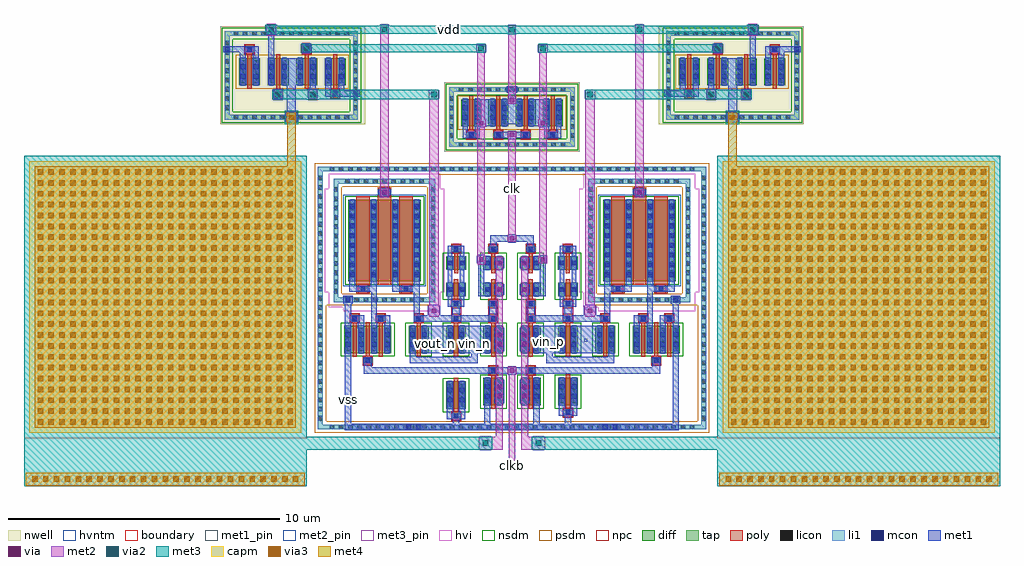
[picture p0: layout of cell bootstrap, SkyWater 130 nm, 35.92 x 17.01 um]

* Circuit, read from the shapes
.subckt bootstrap clk clkb vdd vin_n vin_p vout_n vout_p vss
XM1 vss vss vss vss sky130_fd_pr__nfet_01v8 w=1 l=0.15 m=4
XM2 sky130_fd_pr__nfet_g5v0d10v5_WBA3NL_6/D sky130_fd_pr__nfet_g5v0d10v5_WBA3NL_6/D sky130_fd_pr__nfet_g5v0d10v5_WBA3NL_6/D vss sky130_fd_pr__nfet_g5v0d10v5 w=3 l=0.5
XM3 sky130_fd_pr__nfet_g5v0d10v5_WBA3NL_6/D clkb vss vss sky130_fd_pr__nfet_01v8 w=1 l=0.15
XM4 sky130_fd_pr__nfet_01v8_FAHZ66_11/D vdd sky130_fd_pr__nfet_g5v0d10v5_WBA3NL_6/D vss sky130_fd_pr__nfet_g5v0d10v5 w=3 l=0.5
XM5 sky130_fd_pr__nfet_g5v0d10v5_WBA3NL_6/D sky130_fd_pr__nfet_g5v0d10v5_WBA3NL_6/D sky130_fd_pr__nfet_g5v0d10v5_WBA3NL_6/D vss sky130_fd_pr__nfet_01v8 w=1 l=0.15
XM6 sky130_fd_pr__nfet_01v8_FAHZ66_11/D sky130_fd_pr__nfet_01v8_FAHZ66_11/D sky130_fd_pr__nfet_01v8_FAHZ66_11/D vss sky130_fd_pr__nfet_g5v0d10v5 w=3 l=0.5
XM7 vout_n sky130_fd_pr__nfet_01v8_FAHZ66_11/D vin_n vss sky130_fd_pr__nfet_01v8 w=1 l=0.15 m=2
XM8 sky130_fd_pr__nfet_01v8_FAHZ66_11/D sky130_fd_pr__nfet_01v8_FAHZ66_11/D sky130_fd_pr__nfet_01v8_FAHZ66_11/D vss sky130_fd_pr__nfet_01v8 w=0.5 l=0.15 m=2
XM9 sky130_fd_pr__cap_mim_m3_1_6ZDEYE_0/C2 clkb vss vss sky130_fd_pr__nfet_01v8 w=1 l=0.15
XM10 sky130_fd_pr__cap_mim_m3_1_6ZDEYE_0/C2 sky130_fd_pr__nfet_01v8_FAHZ66_11/D vin_n vss sky130_fd_pr__nfet_01v8 w=1 l=0.15
XM11 sky130_fd_pr__cap_mim_m3_1_6ZDEYE_0/C2 sky130_fd_pr__nfet_01v8_FAHZ66_11/D sky130_fd_pr__nfet_01v8_FAHZ66_13/D vss sky130_fd_pr__nfet_01v8 w=0.5 l=0.15
XM12 sky130_fd_pr__cap_mim_m3_1_6ZDEYE_0/C2 clk sky130_fd_pr__nfet_01v8_FAHZ66_13/D vss sky130_fd_pr__nfet_01v8 w=0.5 l=0.15
XM13 vss clkb sky130_fd_pr__cap_mim_m3_1_6ZDEYE_27/C2 vss sky130_fd_pr__nfet_01v8 w=1 l=0.15
XM14 vin_p sky130_fd_pr__nfet_01v8_FAHZ66_17/D sky130_fd_pr__cap_mim_m3_1_6ZDEYE_27/C2 vss sky130_fd_pr__nfet_01v8 w=1 l=0.15
XM15 sky130_fd_pr__nfet_01v8_FAHZ66_12/D sky130_fd_pr__nfet_01v8_FAHZ66_17/D sky130_fd_pr__cap_mim_m3_1_6ZDEYE_27/C2 vss sky130_fd_pr__nfet_01v8 w=0.5 l=0.15
XM16 sky130_fd_pr__nfet_01v8_FAHZ66_12/D clk sky130_fd_pr__cap_mim_m3_1_6ZDEYE_27/C2 vss sky130_fd_pr__nfet_01v8 w=0.5 l=0.15
XM17 sky130_fd_pr__nfet_01v8_FAHZ66_17/D sky130_fd_pr__nfet_01v8_FAHZ66_17/D sky130_fd_pr__nfet_01v8_FAHZ66_17/D vss sky130_fd_pr__nfet_01v8 w=0.5 l=0.15 m=2
XM18 vout_p sky130_fd_pr__nfet_01v8_FAHZ66_17/D vin_p vss sky130_fd_pr__nfet_01v8 w=1 l=0.15 m=2
XM19 sky130_fd_pr__nfet_01v8_FAHZ66_17/D sky130_fd_pr__nfet_01v8_FAHZ66_17/D sky130_fd_pr__nfet_01v8_FAHZ66_17/D vss sky130_fd_pr__nfet_g5v0d10v5 w=3 l=0.5
XM20 sky130_fd_pr__nfet_g5v0d10v5_WBA3NL_31/D vdd sky130_fd_pr__nfet_01v8_FAHZ66_17/D vss sky130_fd_pr__nfet_g5v0d10v5 w=3 l=0.5
XM21 sky130_fd_pr__nfet_g5v0d10v5_WBA3NL_31/D sky130_fd_pr__nfet_g5v0d10v5_WBA3NL_31/D sky130_fd_pr__nfet_g5v0d10v5_WBA3NL_31/D vss sky130_fd_pr__nfet_01v8 w=1 l=0.15
XM22 sky130_fd_pr__nfet_g5v0d10v5_WBA3NL_31/D sky130_fd_pr__nfet_g5v0d10v5_WBA3NL_31/D sky130_fd_pr__nfet_g5v0d10v5_WBA3NL_31/D vss sky130_fd_pr__nfet_g5v0d10v5 w=3 l=0.5
XM23 vss clkb sky130_fd_pr__nfet_g5v0d10v5_WBA3NL_31/D vss sky130_fd_pr__nfet_01v8 w=1 l=0.15
XM24 sky130_fd_pr__cap_mim_m3_1_6ZDEYE_0/C1 sky130_fd_pr__cap_mim_m3_1_6ZDEYE_0/C1 sky130_fd_pr__cap_mim_m3_1_6ZDEYE_0/C1 sky130_fd_pr__cap_mim_m3_1_6ZDEYE_0/C1 sky130_fd_pr__pfet_01v8 w=1 l=0.15 m=2
XM25 sky130_fd_pr__cap_mim_m3_1_6ZDEYE_0/C1 sky130_fd_pr__nfet_01v8_FAHZ66_11/D vdd sky130_fd_pr__cap_mim_m3_1_6ZDEYE_0/C1 sky130_fd_pr__pfet_01v8 w=1 l=0.15
XM26 sky130_fd_pr__nfet_01v8_FAHZ66_11/D sky130_fd_pr__nfet_01v8_FAHZ66_13/D sky130_fd_pr__cap_mim_m3_1_6ZDEYE_0/C1 sky130_fd_pr__cap_mim_m3_1_6ZDEYE_0/C1 sky130_fd_pr__pfet_01v8 w=1 l=0.15
XM27 sky130_fd_pr__nfet_01v8_FAHZ66_13/D sky130_fd_pr__nfet_01v8_FAHZ66_13/D sky130_fd_pr__nfet_01v8_FAHZ66_13/D vdd sky130_fd_pr__pfet_01v8 w=1 l=0.15
XM28 vdd clk sky130_fd_pr__nfet_01v8_FAHZ66_13/D vdd sky130_fd_pr__pfet_01v8 w=1 l=0.15
XM29 sky130_fd_pr__nfet_01v8_FAHZ66_12/D clk vdd vdd sky130_fd_pr__pfet_01v8 w=1 l=0.15
XM30 sky130_fd_pr__nfet_01v8_FAHZ66_12/D sky130_fd_pr__nfet_01v8_FAHZ66_12/D sky130_fd_pr__nfet_01v8_FAHZ66_12/D vdd sky130_fd_pr__pfet_01v8 w=1 l=0.15
XM31 sky130_fd_pr__cap_mim_m3_1_6ZDEYE_27/C1 sky130_fd_pr__cap_mim_m3_1_6ZDEYE_27/C1 sky130_fd_pr__cap_mim_m3_1_6ZDEYE_27/C1 sky130_fd_pr__cap_mim_m3_1_6ZDEYE_27/C1 sky130_fd_pr__pfet_01v8 w=1 l=0.15 m=2
XM32 sky130_fd_pr__cap_mim_m3_1_6ZDEYE_27/C1 sky130_fd_pr__nfet_01v8_FAHZ66_12/D sky130_fd_pr__nfet_01v8_FAHZ66_17/D sky130_fd_pr__cap_mim_m3_1_6ZDEYE_27/C1 sky130_fd_pr__pfet_01v8 w=1 l=0.15
XM33 vdd sky130_fd_pr__nfet_01v8_FAHZ66_17/D sky130_fd_pr__cap_mim_m3_1_6ZDEYE_27/C1 sky130_fd_pr__cap_mim_m3_1_6ZDEYE_27/C1 sky130_fd_pr__pfet_01v8 w=1 l=0.15
XC34 sky130_fd_pr__cap_mim_m3_1_6ZDEYE_0/C1 sky130_fd_pr__cap_mim_m3_1_6ZDEYE_0/C2 sky130_fd_pr__cap_mim_m3_1 w=10 l=10
XC35 sky130_fd_pr__cap_mim_m3_1_6ZDEYE_27/C1 sky130_fd_pr__cap_mim_m3_1_6ZDEYE_27/C2 sky130_fd_pr__cap_mim_m3_1 w=10 l=10
.ends

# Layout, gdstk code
from math import pi, radians
import gdstk
lib = gdstk.Library(unit=1e-6, precision=1e-09)
def R(c, l, rs):  # rectangles x0, y0, x1, y1
    for r in rs: c.add(gdstk.rectangle(r[:2], r[2:], *l))
def A(c, l, x, y, w, h, nx, ny, dx, dy):  # array of equal rectangles
    R(c, l, [(x+i*dx, y+j*dy, x+i*dx+w, y+j*dy+h) for i in range(nx) for j in range(ny)])
nwell = (64, 20)
diff = (65, 20)
tap = (65, 44)
poly = (66, 20)
licon = (66, 44)
li1 = (67, 20)
mcon = (67, 44)
met1_pin = (68, 16)
met1 = (68, 20)
via = (68, 44)
met2_pin = (69, 16)
met2 = (69, 20)
via2 = (69, 44)
met3_pin = (70, 16)
met3 = (70, 20)
via3 = (70, 44)
met4 = (71, 20)
hvi = (75, 20)
capm = (89, 44)
nsdm = (93, 44)
psdm = (94, 20)
npc = (95, 20)
hvntm = (125, 20)
boundary = (235, 4)

sky130_fd_pr__cap_mim_m3 = lib.new_cell('sky130_fd_pr__cap_mim_m3_1_6ZDEYE')
R(sky130_fd_pr__cap_mim_m3, met3, [(-6.08,-5.2,6.08,5.2)])
A(sky130_fd_pr__cap_mim_m3, via3, 5.72, -4.9, 0.2, 0.2, 1, 25, 0, 0.4)
A(sky130_fd_pr__cap_mim_m3, via3, -5.58, -4.7, 0.2, 0.2, 24, 24, 0.4, 0.4)
R(sky130_fd_pr__cap_mim_m3, met4, [(5.58,-5.14,6.06,5.14), (-5.685,-4.805,3.925,4.805)])
R(sky130_fd_pr__cap_mim_m3, capm, [(-5.88,-5,4.12,5)])
R(sky130_fd_pr__cap_mim_m3, boundary, [(-6.08,-5.2,4.32,5.2)])
sky130_fd_pr__cap_mim_m3.add(gdstk.Label('C2', (5.82,0), layer=71, texttype=5))
sky130_fd_pr__cap_mim_m3.add(gdstk.Label('C1', (-0.88,0), layer=71, texttype=5))

sky130_fd_pr__pfet_01v8_ = lib.new_cell('sky130_fd_pr__pfet_01v8_4VMMWY')
R(sky130_fd_pr__pfet_01v8_, nwell, [(-2.14,-1,-1.01,-0.81), (-0.04,-1,1.09,-0.81), (-2.14,-0.81,2.14,0.81), (-1.09,0.81,0.04,1), (1.01,0.81,2.14,1)])
A(sky130_fd_pr__pfet_01v8_, diff, -1.96, -0.5, 0.77, 1, 4, 1, 1.05, 0)
R(sky130_fd_pr__pfet_01v8_, poly, [(-1.74,-0.985,-1.41,-0.655), (0.36,-0.985,0.69,-0.655), (-1.65,-0.655,-1.5,0.63), (0.45,-0.655,0.6,0.63), (-0.6,-0.63,-0.45,0.655), (1.5,-0.63,1.65,0.655), (-0.69,0.655,-0.36,0.985), (1.41,0.655,1.74,0.985)])
A(sky130_fd_pr__pfet_01v8_, licon, -1.9, -0.425, 0.17, 0.17, 1, 3, 0, 0.34)
A(sky130_fd_pr__pfet_01v8_, licon, -1.42, -0.425, 0.17, 0.17, 1, 3, 0, 0.34)
A(sky130_fd_pr__pfet_01v8_, licon, -0.85, -0.425, 0.17, 0.17, 1, 3, 0, 0.34)
A(sky130_fd_pr__pfet_01v8_, licon, -0.37, -0.425, 0.17, 0.17, 1, 3, 0, 0.34)
A(sky130_fd_pr__pfet_01v8_, licon, 0.2, -0.425, 0.17, 0.17, 1, 3, 0, 0.34)
A(sky130_fd_pr__pfet_01v8_, licon, 0.68, -0.425, 0.17, 0.17, 1, 3, 0, 0.34)
A(sky130_fd_pr__pfet_01v8_, licon, 1.25, -0.425, 0.17, 0.17, 1, 3, 0, 0.34)
A(sky130_fd_pr__pfet_01v8_, licon, 1.73, -0.425, 0.17, 0.17, 1, 3, 0, 0.34)
R(sky130_fd_pr__pfet_01v8_, licon, [(-1.66,-0.905,-1.49,-0.735), (0.44,-0.905,0.61,-0.735), (-0.61,0.735,-0.44,0.905), (1.49,0.735,1.66,0.905)])
R(sky130_fd_pr__pfet_01v8_, li1, [(-1.74,-0.905,-1.41,-0.735), (0.36,-0.905,0.69,-0.735), (-1.9,-0.52,-1.73,0.52), (-1.42,-0.52,-1.25,0.52), (-0.85,-0.52,-0.68,0.52), (-0.37,-0.52,-0.2,0.52), (0.2,-0.52,0.37,0.52), (0.68,-0.52,0.85,0.52), (1.25,-0.52,1.42,0.52), (1.73,-0.52,1.9,0.52), (-0.69,0.735,-0.36,0.905), (1.41,0.735,1.74,0.905)])
R(sky130_fd_pr__pfet_01v8_, mcon, [(-1.66,-0.905,-1.49,-0.735), (0.44,-0.905,0.61,-0.735), (-1.9,-0.265,-1.73,-0.095), (-1.42,-0.265,-1.25,-0.095), (-0.85,-0.265,-0.68,-0.095), (-0.37,-0.265,-0.2,-0.095), (0.2,-0.265,0.37,-0.095), (0.68,-0.265,0.85,-0.095), (1.25,-0.265,1.42,-0.095), (1.73,-0.265,1.9,-0.095), (-1.9,0.095,-1.73,0.265), (-1.42,0.095,-1.25,0.265), (-0.85,0.095,-0.68,0.265), (-0.37,0.095,-0.2,0.265), (0.2,0.095,0.37,0.265), (0.68,0.095,0.85,0.265), (1.25,0.095,1.42,0.265), (1.73,0.095,1.9,0.265), (-0.61,0.735,-0.44,0.905), (1.49,0.735,1.66,0.905)])
R(sky130_fd_pr__pfet_01v8_, met1, [(-1.72,-0.935,-1.43,-0.705), (0.38,-0.935,0.67,-0.705), (-1.93,-0.5,-1.7,0.5), (-1.45,-0.5,-1.22,0.5), (-0.88,-0.5,-0.65,0.5), (-0.4,-0.5,-0.17,0.5), (0.17,-0.5,0.4,0.5), (0.65,-0.5,0.88,0.5), (1.22,-0.5,1.45,0.5), (1.7,-0.5,1.93,0.5), (-0.67,0.705,-0.38,0.935), (1.43,0.705,1.72,0.935)])
R(sky130_fd_pr__pfet_01v8_, psdm, [(-2.085,-0.625,2.085,0.625)])
R(sky130_fd_pr__pfet_01v8_, npc, [(-1.76,-1.005,-1.39,-0.635), (0.34,-1.005,0.71,-0.635), (-0.71,0.635,-0.34,1.005), (1.39,0.635,1.76,1.005)])
sky130_fd_pr__pfet_01v8_.add(gdstk.Label('D0', (-1.815,0), layer=67, texttype=5))
sky130_fd_pr__pfet_01v8_.add(gdstk.Label('S0', (-1.335,0), layer=67, texttype=5))
sky130_fd_pr__pfet_01v8_.add(gdstk.Label('G0', (-1.575,-0.82), layer=67, texttype=5))
sky130_fd_pr__pfet_01v8_.add(gdstk.Label('D1', (-0.285,0), layer=67, texttype=5))
sky130_fd_pr__pfet_01v8_.add(gdstk.Label('S1', (-0.765,0), layer=67, texttype=5))
sky130_fd_pr__pfet_01v8_.add(gdstk.Label('G1', (-0.525,0.82), layer=67, texttype=5))
sky130_fd_pr__pfet_01v8_.add(gdstk.Label('D2', (0.285,0), layer=67, texttype=5))
sky130_fd_pr__pfet_01v8_.add(gdstk.Label('S2', (0.765,0), layer=67, texttype=5))
sky130_fd_pr__pfet_01v8_.add(gdstk.Label('G2', (0.525,-0.82), layer=67, texttype=5))
sky130_fd_pr__pfet_01v8_.add(gdstk.Label('D3', (1.815,0), layer=67, texttype=5))
sky130_fd_pr__pfet_01v8_.add(gdstk.Label('S3', (1.335,0), layer=67, texttype=5))
sky130_fd_pr__pfet_01v8_.add(gdstk.Label('G3', (1.575,0.82), layer=67, texttype=5))

sky130_fd_pr__nfet_01v8_ = lib.new_cell('sky130_fd_pr__nfet_01v8_BQC22N')
R(sky130_fd_pr__nfet_01v8_, diff, [(-0.365,-0.345,0.365,0.655)])
R(sky130_fd_pr__nfet_01v8_, poly, [(-0.165,-0.785,0.165,-0.455), (-0.075,-0.455,0.075,0.785)])
A(sky130_fd_pr__nfet_01v8_, licon, -0.305, -0.27, 0.17, 0.17, 1, 3, 0, 0.34)
A(sky130_fd_pr__nfet_01v8_, licon, 0.135, -0.27, 0.17, 0.17, 1, 3, 0, 0.34)
R(sky130_fd_pr__nfet_01v8_, licon, [(-0.085,-0.705,0.085,-0.535)])
R(sky130_fd_pr__nfet_01v8_, li1, [(-0.165,-0.705,0.165,-0.535), (-0.305,-0.365,-0.135,0.675), (0.135,-0.365,0.305,0.675)])
R(sky130_fd_pr__nfet_01v8_, mcon, [(-0.085,-0.705,0.085,-0.535), (-0.305,-0.11,-0.135,0.06), (0.135,-0.11,0.305,0.06), (-0.305,0.25,-0.135,0.42), (0.135,0.25,0.305,0.42)])
R(sky130_fd_pr__nfet_01v8_, met1, [(-0.145,-0.735,0.145,-0.505), (-0.335,-0.345,-0.105,0.655), (0.105,-0.345,0.335,0.655)])
R(sky130_fd_pr__nfet_01v8_, nsdm, [(-0.49,-0.47,0.49,0.78)])
R(sky130_fd_pr__nfet_01v8_, npc, [(-0.185,-0.805,0.185,-0.435)])
sky130_fd_pr__nfet_01v8_.add(gdstk.Label('D', (-0.22,0.155), layer=67, texttype=5))
sky130_fd_pr__nfet_01v8_.add(gdstk.Label('S', (0.22,0.155), layer=67, texttype=5))
sky130_fd_pr__nfet_01v8_.add(gdstk.Label('G', (0,-0.62), layer=67, texttype=5))

c_sky130_fd_pr__nfet_01v8_ = lib.new_cell('sky130_fd_pr__nfet_01v8_UVMP7B')
R(c_sky130_fd_pr__nfet_01v8_, diff, [(-0.365,-0.655,0.365,0.345)])
R(c_sky130_fd_pr__nfet_01v8_, poly, [(-0.075,-0.785,0.075,0.455), (-0.165,0.455,0.165,0.785)])
A(c_sky130_fd_pr__nfet_01v8_, licon, -0.305, -0.58, 0.17, 0.17, 1, 3, 0, 0.34)
A(c_sky130_fd_pr__nfet_01v8_, licon, 0.135, -0.58, 0.17, 0.17, 1, 3, 0, 0.34)
R(c_sky130_fd_pr__nfet_01v8_, licon, [(-0.085,0.535,0.085,0.705)])
R(c_sky130_fd_pr__nfet_01v8_, li1, [(-0.305,-0.675,-0.135,0.365), (0.135,-0.675,0.305,0.365), (-0.165,0.535,0.165,0.705)])
R(c_sky130_fd_pr__nfet_01v8_, mcon, [(-0.305,-0.42,-0.135,-0.25), (0.135,-0.42,0.305,-0.25), (-0.305,-0.06,-0.135,0.11), (0.135,-0.06,0.305,0.11), (-0.085,0.535,0.085,0.705)])
R(c_sky130_fd_pr__nfet_01v8_, met1, [(-0.335,-0.655,-0.105,0.345), (0.105,-0.655,0.335,0.345), (-0.145,0.505,0.145,0.735)])
R(c_sky130_fd_pr__nfet_01v8_, nsdm, [(-0.49,-0.78,0.49,0.47)])
R(c_sky130_fd_pr__nfet_01v8_, npc, [(-0.185,0.435,0.185,0.805)])
c_sky130_fd_pr__nfet_01v8_.add(gdstk.Label('D', (-0.22,-0.155), layer=67, texttype=5))
c_sky130_fd_pr__nfet_01v8_.add(gdstk.Label('S', (0.22,-0.155), layer=67, texttype=5))
c_sky130_fd_pr__nfet_01v8_.add(gdstk.Label('G', (0,0.62), layer=67, texttype=5))

sky130_fd_pr__nfet_g5v0d = lib.new_cell('sky130_fd_pr__nfet_g5v0d10v5_WBA3NL')
R(sky130_fd_pr__nfet_g5v0d, diff, [(-0.54,-1.655,0.54,1.345)])
R(sky130_fd_pr__nfet_g5v0d, poly, [(-0.25,-1.785,0.25,1.785)])
A(sky130_fd_pr__nfet_g5v0d, licon, -0.48, -1.43, 0.17, 0.17, 1, 8, 0, 0.34)
A(sky130_fd_pr__nfet_g5v0d, licon, 0.31, -1.43, 0.17, 0.17, 1, 8, 0, 0.34)
R(sky130_fd_pr__nfet_g5v0d, licon, [(-0.085,1.535,0.085,1.705)])
R(sky130_fd_pr__nfet_g5v0d, li1, [(-0.48,-1.675,-0.31,1.365), (0.31,-1.675,0.48,1.365), (-0.25,1.535,0.25,1.705)])
A(sky130_fd_pr__nfet_g5v0d, mcon, -0.48, -1.5, 0.17, 0.17, 1, 8, 0, 0.36)
A(sky130_fd_pr__nfet_g5v0d, mcon, 0.31, -1.5, 0.17, 0.17, 1, 8, 0, 0.36)
R(sky130_fd_pr__nfet_g5v0d, mcon, [(-0.085,1.535,0.085,1.705)])
R(sky130_fd_pr__nfet_g5v0d, met1, [(-0.51,-1.655,-0.28,1.345), (0.28,-1.655,0.51,1.345), (-0.23,1.505,0.23,1.735)])
R(sky130_fd_pr__nfet_g5v0d, hvi, [(-0.725,-1.84,0.725,1.53)])
R(sky130_fd_pr__nfet_g5v0d, nsdm, [(-0.665,-1.78,0.665,1.47)])
R(sky130_fd_pr__nfet_g5v0d, npc, [(-0.185,1.435,0.185,1.805)])
R(sky130_fd_pr__nfet_g5v0d, hvntm, [(-0.725,-1.84,0.725,1.53)])
sky130_fd_pr__nfet_g5v0d.add(gdstk.Label('D', (-0.395,-0.155), layer=67, texttype=5))
sky130_fd_pr__nfet_g5v0d.add(gdstk.Label('S', (0.395,-0.155), layer=67, texttype=5))
sky130_fd_pr__nfet_g5v0d.add(gdstk.Label('G', (0,1.62), layer=67, texttype=5))

c_sky130_fd_pr__nfet_01v8__ = lib.new_cell('sky130_fd_pr__nfet_01v8_WAW2ZE')
R(c_sky130_fd_pr__nfet_01v8__, diff, [(-0.865,-0.5,0.865,0.5)])
R(c_sky130_fd_pr__nfet_01v8__, poly, [(-0.645,-0.94,-0.315,-0.61), (0.315,-0.94,0.645,-0.61), (-0.075,-0.63,0.075,0.61), (-0.555,-0.61,-0.405,0.63), (0.405,-0.61,0.555,0.63), (-0.165,0.61,0.165,0.94)])
A(c_sky130_fd_pr__nfet_01v8__, licon, -0.805, -0.425, 0.17, 0.17, 4, 3, 0.48, 0.34)
R(c_sky130_fd_pr__nfet_01v8__, licon, [(-0.565,-0.86,-0.395,-0.69), (0.395,-0.86,0.565,-0.69), (-0.085,0.69,0.085,0.86)])
A(c_sky130_fd_pr__nfet_01v8__, li1, -0.805, -0.52, 0.17, 1.04, 4, 1, 0.48, 0)
R(c_sky130_fd_pr__nfet_01v8__, li1, [(-0.645,-0.86,-0.315,-0.69), (0.315,-0.86,0.645,-0.69), (-0.165,0.69,0.165,0.86)])
A(c_sky130_fd_pr__nfet_01v8__, mcon, -0.805, -0.265, 0.17, 0.17, 4, 2, 0.48, 0.36)
R(c_sky130_fd_pr__nfet_01v8__, mcon, [(-0.565,-0.86,-0.395,-0.69), (0.395,-0.86,0.565,-0.69), (-0.085,0.69,0.085,0.86)])
A(c_sky130_fd_pr__nfet_01v8__, met1, -0.835, -0.5, 0.23, 1, 4, 1, 0.48, 0)
R(c_sky130_fd_pr__nfet_01v8__, met1, [(-0.625,-0.89,-0.335,-0.66), (0.335,-0.89,0.625,-0.66), (-0.145,0.66,0.145,0.89)])
R(c_sky130_fd_pr__nfet_01v8__, nsdm, [(-0.99,-0.625,0.99,0.625)])
R(c_sky130_fd_pr__nfet_01v8__, npc, [(-0.665,-0.96,-0.295,-0.59), (0.295,-0.96,0.665,-0.59), (-0.185,0.59,0.185,0.96)])
c_sky130_fd_pr__nfet_01v8__.add(gdstk.Label('D0', (-0.72,0), layer=67, texttype=5))
c_sky130_fd_pr__nfet_01v8__.add(gdstk.Label('G0', (-0.48,-0.775), layer=67, texttype=5))
c_sky130_fd_pr__nfet_01v8__.add(gdstk.Label('S1', (-0.24,0), layer=67, texttype=5))
c_sky130_fd_pr__nfet_01v8__.add(gdstk.Label('G1', (0,0.775), layer=67, texttype=5))
c_sky130_fd_pr__nfet_01v8__.add(gdstk.Label('D2', (0.24,0), layer=67, texttype=5))
c_sky130_fd_pr__nfet_01v8__.add(gdstk.Label('S2', (0.72,0), layer=67, texttype=5))
c_sky130_fd_pr__nfet_01v8__.add(gdstk.Label('G2', (0.48,-0.775), layer=67, texttype=5))

c_sky130_fd_pr__nfet_01v8___ = lib.new_cell('sky130_fd_pr__nfet_01v8_FAHZ66')
R(c_sky130_fd_pr__nfet_01v8___, diff, [(-0.365,-0.095,0.365,0.405)])
R(c_sky130_fd_pr__nfet_01v8___, poly, [(-0.165,-0.535,0.165,-0.205), (-0.075,-0.205,0.075,0.535)])
R(c_sky130_fd_pr__nfet_01v8___, licon, [(-0.085,-0.455,0.085,-0.285), (-0.305,0.07,-0.135,0.24), (0.135,0.07,0.305,0.24)])
R(c_sky130_fd_pr__nfet_01v8___, li1, [(-0.165,-0.455,0.165,-0.285), (-0.305,-0.115,-0.135,0.425), (0.135,-0.115,0.305,0.425)])
R(c_sky130_fd_pr__nfet_01v8___, mcon, [(-0.085,-0.455,0.085,-0.285), (-0.305,0.07,-0.135,0.24), (0.135,0.07,0.305,0.24)])
R(c_sky130_fd_pr__nfet_01v8___, met1, [(-0.145,-0.485,0.145,-0.255), (-0.335,-0.095,-0.105,0.405), (0.105,-0.095,0.335,0.405)])
R(c_sky130_fd_pr__nfet_01v8___, nsdm, [(-0.49,-0.22,0.49,0.53)])
R(c_sky130_fd_pr__nfet_01v8___, npc, [(-0.185,-0.555,0.185,-0.185)])
c_sky130_fd_pr__nfet_01v8___.add(gdstk.Label('D', (-0.22,0.155), layer=67, texttype=5))
c_sky130_fd_pr__nfet_01v8___.add(gdstk.Label('S', (0.22,0.155), layer=67, texttype=5))
c_sky130_fd_pr__nfet_01v8___.add(gdstk.Label('G', (0,-0.37), layer=67, texttype=5))

c_sky130_fd_pr__nfet_01v8____ = lib.new_cell('sky130_fd_pr__nfet_01v8_EUBQG3')
R(c_sky130_fd_pr__nfet_01v8____, diff, [(-0.365,-0.345,0.365,0.655)])
R(c_sky130_fd_pr__nfet_01v8____, poly, [(-0.165,-0.785,0.165,-0.455), (-0.075,-0.455,0.075,0.785)])
A(c_sky130_fd_pr__nfet_01v8____, licon, -0.305, -0.27, 0.17, 0.17, 1, 3, 0, 0.34)
A(c_sky130_fd_pr__nfet_01v8____, licon, 0.135, -0.27, 0.17, 0.17, 1, 3, 0, 0.34)
R(c_sky130_fd_pr__nfet_01v8____, licon, [(-0.085,-0.705,0.085,-0.535)])
R(c_sky130_fd_pr__nfet_01v8____, li1, [(-0.165,-0.705,0.165,-0.535), (-0.305,-0.365,-0.135,0.675), (0.135,-0.365,0.305,0.675)])
R(c_sky130_fd_pr__nfet_01v8____, mcon, [(-0.085,-0.705,0.085,-0.535), (-0.305,-0.11,-0.135,0.06), (0.135,-0.11,0.305,0.06), (-0.305,0.25,-0.135,0.42), (0.135,0.25,0.305,0.42)])
R(c_sky130_fd_pr__nfet_01v8____, met1, [(-0.145,-0.735,0.145,-0.505), (-0.335,-0.345,-0.105,0.655), (0.105,-0.345,0.335,0.655)])
R(c_sky130_fd_pr__nfet_01v8____, nsdm, [(-0.49,-0.47,0.49,0.78)])
R(c_sky130_fd_pr__nfet_01v8____, npc, [(-0.185,-0.805,0.185,-0.435)])
c_sky130_fd_pr__nfet_01v8____.add(gdstk.Label('D', (-0.22,0.155), layer=67, texttype=5))
c_sky130_fd_pr__nfet_01v8____.add(gdstk.Label('S', (0.22,0.155), layer=67, texttype=5))
c_sky130_fd_pr__nfet_01v8____.add(gdstk.Label('G', (0,-0.62), layer=67, texttype=5))

c_sky130_fd_pr__nfet_01v8_____ = lib.new_cell('sky130_fd_pr__nfet_01v8_RCEBEB')
R(c_sky130_fd_pr__nfet_01v8_____, diff, [(-0.365,-0.405,0.365,0.095)])
R(c_sky130_fd_pr__nfet_01v8_____, poly, [(-0.075,-0.535,0.075,0.205), (-0.165,0.205,0.165,0.535)])
R(c_sky130_fd_pr__nfet_01v8_____, licon, [(-0.305,-0.24,-0.135,-0.07), (0.135,-0.24,0.305,-0.07), (-0.085,0.285,0.085,0.455)])
R(c_sky130_fd_pr__nfet_01v8_____, li1, [(-0.305,-0.425,-0.135,0.115), (0.135,-0.425,0.305,0.115), (-0.165,0.285,0.165,0.455)])
R(c_sky130_fd_pr__nfet_01v8_____, mcon, [(-0.305,-0.24,-0.135,-0.07), (0.135,-0.24,0.305,-0.07), (-0.085,0.285,0.085,0.455)])
R(c_sky130_fd_pr__nfet_01v8_____, met1, [(-0.335,-0.405,-0.105,0.095), (0.105,-0.405,0.335,0.095), (-0.145,0.255,0.145,0.485)])
R(c_sky130_fd_pr__nfet_01v8_____, nsdm, [(-0.49,-0.53,0.49,0.22)])
R(c_sky130_fd_pr__nfet_01v8_____, npc, [(-0.185,0.185,0.185,0.555)])
c_sky130_fd_pr__nfet_01v8_____.add(gdstk.Label('D', (-0.22,-0.155), layer=67, texttype=5))
c_sky130_fd_pr__nfet_01v8_____.add(gdstk.Label('S', (0.22,-0.155), layer=67, texttype=5))
c_sky130_fd_pr__nfet_01v8_____.add(gdstk.Label('G', (0,0.37), layer=67, texttype=5))

c_sky130_fd_pr__pfet_01v8_ = lib.new_cell('sky130_fd_pr__pfet_01v8_W93KHH')
R(c_sky130_fd_pr__pfet_01v8_, nwell, [(-0.545,-0.99,0.545,0.82)])
R(c_sky130_fd_pr__pfet_01v8_, diff, [(-0.365,-0.68,0.365,0.32)])
R(c_sky130_fd_pr__pfet_01v8_, poly, [(-0.075,-0.81,0.075,0.475), (-0.165,0.475,0.165,0.805)])
A(c_sky130_fd_pr__pfet_01v8_, licon, -0.305, -0.605, 0.17, 0.17, 1, 3, 0, 0.34)
A(c_sky130_fd_pr__pfet_01v8_, licon, 0.135, -0.605, 0.17, 0.17, 1, 3, 0, 0.34)
R(c_sky130_fd_pr__pfet_01v8_, licon, [(-0.085,0.555,0.085,0.725)])
R(c_sky130_fd_pr__pfet_01v8_, li1, [(-0.305,-0.7,-0.135,0.34), (0.135,-0.7,0.305,0.34), (-0.165,0.555,0.165,0.725)])
R(c_sky130_fd_pr__pfet_01v8_, mcon, [(-0.305,-0.445,-0.135,-0.275), (0.135,-0.445,0.305,-0.275), (-0.305,-0.085,-0.135,0.085), (0.135,-0.085,0.305,0.085), (-0.085,0.555,0.085,0.725)])
R(c_sky130_fd_pr__pfet_01v8_, met1, [(-0.335,-0.68,-0.105,0.32), (0.105,-0.68,0.335,0.32), (-0.145,0.525,0.145,0.755)])
R(c_sky130_fd_pr__pfet_01v8_, psdm, [(-0.49,-0.805,0.49,0.445)])
R(c_sky130_fd_pr__pfet_01v8_, npc, [(-0.185,0.455,0.185,0.825)])
c_sky130_fd_pr__pfet_01v8_.add(gdstk.Label('D', (-0.22,-0.18), layer=67, texttype=5))
c_sky130_fd_pr__pfet_01v8_.add(gdstk.Label('S', (0.22,-0.18), layer=67, texttype=5))
c_sky130_fd_pr__pfet_01v8_.add(gdstk.Label('G', (0,0.64), layer=67, texttype=5))

bootstrap = lib.new_cell('bootstrap')
R(bootstrap, nwell, [(7.7,5.715,12.67,6.415), (7.7,6.415,8.68,7.14), (8.82,6.415,8.99,6.66), (9.275,6.415,12.67,6.66), (8.82,6.66,12.67,7.14), (-0.56,6.725,4.775,10.34), (15.595,6.725,20.93,10.34), (7.7,7.14,12.67,8.28)])
R(bootstrap, tap, [(3.045,-4.5,17.325,-4.33), (3.045,-4.33,3.215,4.995), (17.155,-4.33,17.325,4.995), (3.62,0.19,7.365,0.36), (13,0.19,16.745,0.36), (3.62,0.36,3.79,4.55), (7.195,0.36,7.365,4.55), (13,0.36,13.17,4.55), (16.575,0.36,16.745,4.55), (3.62,4.55,7.365,4.72), (13,4.55,16.745,4.72), (3.045,4.995,17.325,5.165), (7.88,5.895,12.49,6.065), (7.88,6.065,8.05,7.93), (12.32,6.065,12.49,7.93), (-0.38,6.905,4.515,7.075), (15.855,6.905,20.75,7.075), (-0.38,7.075,-0.21,9.99), (4.345,7.075,4.515,9.99), (15.855,7.075,16.025,9.99), (20.58,7.075,20.75,9.99), (7.88,7.93,12.49,8.1), (-0.38,9.99,4.515,10.16), (15.855,9.99,20.75,10.16)])
A(bootstrap, licon, 3.47, -4.5, 0.17, 0.17, 40, 2, 0.34, 9.495)
A(bootstrap, licon, 3.045, -4.175, 0.17, 0.17, 1, 27, 0, 0.34)
A(bootstrap, licon, 17.155, -4.175, 0.17, 0.17, 1, 27, 0, 0.34)
A(bootstrap, licon, 4.045, 0.19, 0.17, 0.17, 9, 2, 0.34, 4.36)
A(bootstrap, licon, 13.425, 0.19, 0.17, 0.17, 9, 2, 0.34, 4.36)
A(bootstrap, licon, 3.62, 0.5, 0.17, 0.17, 1, 12, 0, 0.34)
A(bootstrap, licon, 7.195, 0.5, 0.17, 0.17, 1, 12, 0, 0.34)
A(bootstrap, licon, 13, 0.5, 0.17, 0.17, 1, 12, 0, 0.34)
A(bootstrap, licon, 16.575, 0.5, 0.17, 0.17, 1, 12, 0, 0.34)
A(bootstrap, licon, 8.23, 5.895, 0.17, 0.17, 12, 2, 0.34, 2.035)
A(bootstrap, licon, 7.88, 6.23, 0.17, 0.17, 1, 5, 0, 0.34)
A(bootstrap, licon, 12.32, 6.23, 0.17, 0.17, 1, 5, 0, 0.34)
A(bootstrap, licon, -0.06, 6.905, 0.17, 0.17, 13, 2, 0.34, 3.085)
A(bootstrap, licon, 16.175, 6.905, 0.17, 0.17, 13, 2, 0.34, 3.085)
A(bootstrap, licon, -0.38, 7.255, 0.17, 0.17, 1, 8, 0, 0.34)
A(bootstrap, licon, 4.345, 7.255, 0.17, 0.17, 1, 8, 0, 0.34)
A(bootstrap, licon, 15.855, 7.255, 0.17, 0.17, 1, 8, 0, 0.34)
A(bootstrap, licon, 20.58, 7.255, 0.17, 0.17, 1, 8, 0, 0.34)
R(bootstrap, li1, [(3.045,-4.5,17.325,-4.33), (3.045,-4.33,3.215,4.995), (17.155,-4.33,17.325,4.995), (4.035,0.16,4.265,0.19), (16.095,0.16,16.325,0.19), (3.62,0.19,7.365,0.36), (13,0.19,16.745,0.36), (3.62,0.36,3.79,4.55), (4.035,0.36,4.265,0.39), (7.195,0.36,7.365,4.55), (13,0.36,13.17,4.55), (16.095,0.36,16.325,0.39), (16.575,0.36,16.745,4.55), (3.62,4.55,7.365,4.72), (13,4.55,16.745,4.72), (3.045,4.995,17.325,5.165), (7.88,5.895,12.49,6.065), (7.88,6.065,8.05,7.93), (12.32,6.065,12.49,7.93), (-0.38,6.905,4.515,7.075), (15.855,6.905,20.75,7.075), (-0.38,7.075,-0.21,9.99), (4.345,7.075,4.515,9.99), (15.855,7.075,16.025,9.99), (20.58,7.075,20.75,9.99), (7.88,7.93,12.49,8.1), (-0.38,9.99,4.515,10.16), (15.855,9.99,20.75,10.16)])
R(bootstrap, mcon, [(6.3,-4.5,6.47,-4.33), (6.66,-4.5,6.83,-4.33), (13.53,-4.5,13.7,-4.33), (13.89,-4.5,14.06,-4.33), (4.065,0.19,4.235,0.36), (16.125,0.19,16.295,0.36), (1.98,6.905,2.15,7.075), (18.22,6.905,18.39,7.075), (4.345,7.765,4.515,7.935), (15.855,7.765,16.025,7.935), (10.1,7.93,10.27,8.1), (-0.38,9.405,-0.21,9.575), (20.58,9.405,20.75,9.575)])
R(bootstrap, met1_pin, [(4.11,-3.45,4.21,-3.35), (8.75,-1.38,8.85,-1.28), (7.33,-1.37,7.43,-1.27), (11.48,-1.31,11.58,-1.21), (12.85,-1.27,12.95,-1.17)])
R(bootstrap, met1, [(4.035,-4.53,16.325,-4.295), (4.035,-4.295,4.265,-1.5), (8.01,-4.295,8.24,-4.125), (9.16,-4.295,9.39,-3.37), (10.97,-4.295,11.2,-3.37), (12.13,-4.295,12.36,-3.995), (16.095,-4.295,16.325,-1.5), (7.79,-4.125,8.46,-3.995), (7.79,-3.995,8.02,-3.72), (8.23,-3.995,8.46,-3.72), (11.91,-3.995,12.58,-3.765), (11.91,-3.765,12.14,-3.475), (12.35,-3.765,12.58,-3.475), (9.54,-3.545,9.9,-2.665), (10.47,-3.545,10.83,-2.665), (10.055,-2.49,10.315,-2.445), (4.73,-2.445,15.64,-2.215), (4.73,-2.215,5.02,-1.99), (10.055,-2.215,10.315,-2.17), (15.35,-2.215,15.64,-1.99), (6.415,-2.06,8.92,-1.83), (11.45,-2.06,13.955,-1.83), (6.415,-1.83,6.645,-1.58), (8.69,-1.83,8.92,-1.69), (11.45,-1.83,11.68,-1.69), (13.725,-1.83,13.955,-1.58), (6.975,-1.69,7.83,-0.69), (8.395,-1.69,9.25,-0.69), (11.12,-1.69,11.975,-0.69), (12.54,-1.69,13.395,-0.69), (9.54,-1.63,9.9,-0.75), (10.47,-1.63,10.83,-0.75), (4.035,-0.78,4.265,0.13), (4.515,-0.78,4.745,-0.3), (5,-0.78,5.23,-0.3), (5.48,-0.78,5.71,-0.3), (14.66,-0.78,14.89,-0.3), (15.14,-0.78,15.37,-0.3), (15.615,-0.78,15.845,-0.3), (16.095,-0.78,16.325,0.13), (6.565,-0.53,9.64,-0.365), (10.73,-0.53,13.805,-0.365), (6.565,-0.365,9.645,-0.3), (10.725,-0.365,13.805,-0.3), (5,-0.3,5.215,0.565), (6.565,-0.3,6.795,0.565), (7.09,-0.3,7.54,0.05), (7.98,-0.3,8.27,0.01), (9.355,-0.3,9.645,0.05), (10.725,-0.3,11.015,0.05), (12.1,-0.3,12.39,0.01), (12.83,-0.3,13.28,0.05), (13.575,-0.3,13.805,0.565), (15.155,-0.3,15.37,0.565), (7.825,0.01,8.435,0.105), (11.935,0.01,12.545,0.045), (11.935,0.045,12.105,2.26), (12.375,0.045,12.545,2.26), (7.14,0.05,7.49,0.08), (12.88,0.05,13.23,0.08), (7.825,0.105,7.995,2.26), (8.265,0.105,8.435,2.26), (3.975,0.13,4.325,0.42), (16.035,0.13,16.385,0.42), (8.935,0.4,9.165,1.37), (11.205,0.4,11.435,1.37), (9.54,0.46,9.9,0.84), (10.47,0.46,10.83,0.84), (4.195,0.565,4.515,0.795), (4.85,0.565,5.215,0.795), (5.775,0.565,6.135,0.795), (6.345,0.565,6.795,0.795), (13.575,0.565,14.025,0.795), (14.235,0.565,14.595,0.795), (15.155,0.565,15.52,0.795), (15.855,0.565,16.175,0.795), (4.195,0.795,4.425,1.035), (4.985,0.795,5.215,1.015), (5.775,0.795,6.005,1.03), (6.565,0.795,6.795,3.07), (13.575,0.795,13.805,1.095), (14.365,0.795,14.595,1.03), (15.155,0.795,15.385,1.015), (15.945,0.795,16.175,1.035), (8.935,1.37,9.315,1.43), (11.055,1.37,11.435,1.425), (11.025,1.425,11.435,1.595), (8.935,1.43,9.165,1.585), (9.26,1.43,9.315,1.87), (9.54,1.43,9.9,1.81), (10.47,1.43,10.83,1.81), (8.93,1.585,9.19,1.615), (11.025,1.595,11.45,1.87), (8.88,1.615,9.24,1.895), (11.19,1.87,11.45,1.915), (8.93,1.895,9.19,1.925), (10.755,2.08,10.985,2.415), (9.385,2.11,9.615,2.415), (10.055,2.37,10.315,2.415), (9.385,2.415,10.985,2.645), (10.055,2.645,10.315,2.69), (5.315,4.08,5.675,4.38), (14.695,4.08,15.055,4.38), (10.055,6.18,10.315,6.225), (8.38,6.225,8.55,6.72), (8.82,6.225,8.99,6.615), (9.75,6.225,10.56,6.455), (11.38,6.225,11.55,6.615), (11.82,6.225,11.99,6.705), (10.055,6.455,10.315,6.5), (8.82,6.615,9.18,6.645), (11.19,6.615,11.55,6.645), (8.82,6.645,9.23,6.66), (11.16,6.645,11.55,6.66), (8.82,6.66,9.48,7.385), (10.955,6.66,11.55,6.85), (11.83,6.705,11.99,6.73), (9.91,6.735,10.445,7.66), (1.9,6.8,2.225,6.83), (18.145,6.8,18.47,6.83), (1.85,6.83,2.275,7.155), (18.095,6.83,18.52,7.155), (10.955,6.85,11.48,6.905), (10.955,6.905,11.45,6.935), (10.955,6.935,11.445,7.66), (1.9,7.155,2.225,8.17), (18.145,7.155,18.47,8.17), (8.925,7.385,9.48,7.66), (1.39,7.62,1.74,8.03), (18.63,7.62,18.98,8.03), (10.05,7.66,10.32,7.9), (2.725,7.67,2.985,7.7), (17.385,7.67,17.645,7.7), (2.675,7.7,3.035,7.96), (17.335,7.7,17.695,7.96), (3.31,7.735,4.575,7.965), (15.795,7.735,17.06,7.965), (9.99,7.9,10.38,8.13), (2.725,7.96,2.985,7.99), (17.385,7.96,17.645,7.99), (3.31,7.965,3.54,8.565), (3.79,7.965,4.02,8.565), (16.35,7.965,16.58,8.565), (16.83,7.965,17.06,8.565), (2.74,7.99,2.97,8.19), (17.4,7.99,17.63,8.19), (1.72,8.17,2.365,8.23), (18.005,8.17,18.65,9.17), (1.72,8.23,2.355,9.11), (0.16,8.805,0.39,9.375), (0.64,8.805,0.87,9.605), (19.5,8.805,19.73,9.605), (19.98,8.805,20.21,9.375), (1.21,9.015,1.44,10.05), (18.93,9.015,19.16,10.05), (1.72,9.11,2.365,9.17), (-0.44,9.375,0.39,9.605), (2.415,9.375,2.815,9.675), (17.555,9.375,17.955,9.675), (19.98,9.375,20.81,9.605), (1.195,10.05,1.455,10.08), (18.915,10.05,19.175,10.08), (1.145,10.08,1.505,10.34), (18.865,10.08,19.225,10.34), (1.195,10.34,1.455,10.37), (18.915,10.34,19.175,10.37)])
R(bootstrap, via, [(9.645,-3.34,9.795,-3.19), (10.575,-3.34,10.725,-3.19), (9.645,-3.02,9.795,-2.87), (10.575,-3.02,10.725,-2.87), (10.11,-2.405,10.26,-2.255), (9.645,-1.425,9.795,-1.275), (10.575,-1.425,10.725,-1.275), (9.645,-1.105,9.795,-0.955), (10.575,-1.105,10.725,-0.955), (7.24,-0.2,7.39,-0.05), (12.98,-0.2,13.13,-0.05), (9.645,0.575,9.795,0.725), (10.575,0.575,10.725,0.725), (9.645,1.545,9.795,1.695), (10.575,1.545,10.725,1.695), (8.985,1.68,9.135,1.83), (11.245,1.68,11.395,1.83), (10.11,2.455,10.26,2.605), (5.42,4.155,5.57,4.305), (14.8,4.155,14.95,4.305), (10.11,6.265,10.26,6.415), (8.975,6.7,9.125,6.85), (11.245,6.7,11.395,6.85), (1.985,6.915,2.135,7.065), (18.23,6.915,18.38,7.065), (10.11,7.55,10.26,7.7), (1.49,7.75,1.64,7.9), (18.73,7.75,18.88,7.9), (2.78,7.755,2.93,7.905), (17.44,7.755,17.59,7.905), (2.54,9.45,2.69,9.6), (17.68,9.45,17.83,9.6), (1.25,10.135,1.4,10.285), (18.97,10.135,19.12,10.285)])
R(bootstrap, met2_pin, [(10.155,-5.855,10.24,-5.77), (10.165,4.32,10.25,4.405)])
R(bootstrap, met2, [(10.07,-6.025,10.3,-2.46), (8.995,-5.265,9.425,-5.245), (10.945,-5.265,11.375,-5.245), (8.97,-5.245,9.85,-4.765), (10.52,-5.245,11.4,-4.765), (8.995,-4.765,9.425,-4.745), (9.59,-4.765,9.85,1.86), (10.52,-4.765,10.78,1.86), (10.945,-4.765,11.375,-4.745), (10.025,-2.46,10.345,-2.2), (7.14,-0.35,7.49,-0.3), (12.88,-0.35,13.23,-0.3), (7.11,-0.3,7.52,0.05), (12.85,-0.3,13.26,0.05), (7.14,0.05,7.49,7.675), (12.88,0.05,13.23,7.675), (8.93,1.565,9.19,1.615), (8.9,1.615,9.22,1.895), (11.16,1.625,11.48,1.885), (11.18,1.885,11.46,6.645), (8.91,1.895,9.19,6.645), (10.025,2.4,10.345,2.66), (10.055,2.66,10.315,6.21), (5.345,4.05,5.645,10.405), (14.725,4.05,15.025,10.405), (10.025,6.21,10.345,6.47), (8.89,6.645,9.21,6.905), (11.16,6.645,11.48,6.905), (1.9,6.78,2.225,6.83), (18.145,6.78,18.47,6.83), (1.87,6.83,2.255,7.155), (18.115,6.83,18.5,7.155), (8.91,6.905,9.19,9.385), (11.18,6.905,11.46,9.385), (1.9,7.155,2.225,7.205), (18.145,7.155,18.47,7.205), (10.02,7.49,10.35,7.76), (2.69,7.615,3.02,8.045), (17.35,7.615,17.68,8.045), (1.415,7.625,1.715,7.65), (18.655,7.625,18.955,7.65), (1.36,7.65,1.77,8), (18.6,7.65,19.01,8), (7.12,7.675,7.51,7.975), (12.86,7.675,13.25,7.975), (10.05,7.76,10.32,10.025), (7.14,7.975,7.49,8), (12.88,7.975,13.23,8), (1.415,8,1.715,8.025), (18.655,8,18.955,8.025), (2.465,9.325,2.765,9.725), (17.605,9.325,17.905,9.725), (8.865,9.385,9.235,9.665), (11.135,9.385,11.505,9.665), (1.16,9.995,1.49,10.07), (18.88,9.995,19.21,10.07), (10.045,10.025,10.325,10.395), (1.14,10.07,1.51,10.35), (18.86,10.07,19.23,10.35), (1.16,10.35,1.49,10.425), (18.88,10.35,19.21,10.425)])
A(bootstrap, via2, 1.225, 10.11, 0.2, 0.2, 3, 1, 8.86, 0)
R(bootstrap, via2, [(9.11,-5.105,9.31,-4.905), (11.06,-5.105,11.26,-4.905), (1.965,6.89,2.165,7.09), (18.205,6.89,18.405,7.09), (1.465,7.725,1.665,7.925), (7.215,7.725,7.415,7.925), (12.955,7.725,13.155,7.925), (18.705,7.725,18.905,7.925), (2.755,7.73,2.955,7.93), (17.415,7.73,17.615,7.93), (2.515,9.425,2.715,9.625), (8.95,9.425,9.15,9.625), (11.22,9.425,11.42,9.625), (17.655,9.425,17.855,9.625), (5.395,10.12,5.595,10.32), (14.775,10.12,14.975,10.32)])
R(bootstrap, met3_pin, [(7.855,10.16,7.94,10.245)])
R(bootstrap, met3, [(-0.1,-5.245,9.45,-4.765), (10.92,-5.245,19.19,-4.765), (1.82,6.74,2.31,7.23), (18.06,6.74,18.55,7.23), (2.64,7.64,3.07,7.65), (17.3,7.64,17.73,7.65), (1.365,7.65,7.49,8), (12.88,7.65,19.005,8), (2.64,8,3.07,8.02), (17.3,8,17.73,8.02), (2.425,9.36,2.805,9.375), (8.885,9.36,9.215,9.375), (11.155,9.36,11.485,9.375), (17.565,9.36,17.945,9.375), (2.425,9.375,9.215,9.675), (11.155,9.375,17.945,9.675), (2.425,9.675,2.805,9.69), (8.885,9.675,9.215,9.69), (11.155,9.675,11.485,9.69), (17.565,9.675,17.945,9.69), (1.11,10.02,1.54,10.06), (18.83,10.02,19.26,10.06), (10.02,10.045,10.35,10.06), (5.32,10.055,5.67,10.06), (14.7,10.055,15.05,10.06), (1.11,10.06,19.26,10.36), (1.11,10.36,1.54,10.4), (5.32,10.36,5.67,10.385), (10.02,10.36,10.35,10.375), (14.7,10.36,15.05,10.385), (18.83,10.36,19.26,10.4)])
R(bootstrap, via3, [(1.965,6.89,2.165,7.09), (18.205,6.89,18.405,7.09)])
R(bootstrap, met4, [(1.905,4.09,2.23,6.825), (18.14,4.09,18.465,6.825), (1.9,6.825,2.23,7.155), (18.14,6.825,18.47,7.155)])
R(bootstrap, hvi, [(3.975,-0.145,7.55,0.005), (13.355,-0.145,16.93,0.005), (3.435,0.005,7.55,0.545), (12.815,0.005,16.93,0.545), (3.285,0.545,7.7,0.77), (12.665,0.545,17.08,0.77), (3.285,0.77,4.125,4.14), (6.86,0.77,7.7,4.14), (12.665,0.77,13.505,4.14), (16.24,0.77,17.08,4.14), (3.285,4.14,7.7,4.365), (12.665,4.14,17.08,4.365), (3.435,4.365,7.55,4.905), (12.815,4.365,16.93,4.905)])
R(bootstrap, nsdm, [(7.64,1.025,8.615,1.245), (9.01,1.025,9.99,1.245), (10.38,1.025,11.36,1.245), (11.755,1.025,12.73,1.245), (7.755,5.77,12.615,6.19), (7.755,6.19,8.175,7.805), (12.195,6.19,12.615,7.805), (-0.505,6.78,4.64,7.2), (15.73,6.78,20.875,7.2), (-0.505,7.2,-0.085,9.865), (4.22,7.2,4.64,9.865), (15.73,7.2,16.15,9.865), (20.455,7.2,20.875,9.865), (7.755,7.805,12.615,8.225), (-0.505,9.865,4.64,10.285), (15.73,9.865,20.875,10.285)])
A(bootstrap, psdm, 9.175, 6.535, 0.02, 1.25, 3, 1, 1, 0)
R(bootstrap, psdm, [(2.92,-4.625,17.45,-4.205), (2.92,-4.205,3.34,0.065), (17.03,-4.205,17.45,0.065), (2.92,0.065,7.49,0.485), (12.875,0.065,17.45,0.485), (2.92,0.485,3.915,4.425), (7.07,0.485,7.49,4.425), (12.875,0.485,13.295,4.425), (16.45,0.485,17.45,4.425), (2.92,4.425,7.49,4.87), (12.875,4.425,17.45,4.87), (2.92,4.87,17.45,5.29)])
R(bootstrap, npc, [(7.94,-0.23,8.31,-0.06), (9.315,-0.23,9.685,-0.06), (10.685,-0.23,11.055,-0.06), (12.06,-0.23,12.43,-0.06)])
bootstrap.add(gdstk.Reference(sky130_fd_pr__cap_mim_m3, (-2.575,-0.505), rotation=3*pi/2))
bootstrap.add(gdstk.Reference(sky130_fd_pr__pfet_01v8_, (2.1,8.67), x_reflection=True))
bootstrap.add(gdstk.Reference(sky130_fd_pr__nfet_01v8_, (8.125,-3.39), rotation=pi, x_reflection=True))
bootstrap.add(gdstk.Reference(c_sky130_fd_pr__nfet_01v8_, (10.87,-2.95)))
bootstrap.add(gdstk.Reference(c_sky130_fd_pr__nfet_01v8_, (9.5,-2.95), rotation=pi, x_reflection=True))
bootstrap.add(gdstk.Reference(sky130_fd_pr__nfet_01v8_, (12.245,-3.26)))
bootstrap.add(gdstk.Reference(sky130_fd_pr__nfet_g5v0d, (4.705,2.3), x_reflection=True))
bootstrap.add(gdstk.Reference(c_sky130_fd_pr__nfet_01v8__, (4.875,-1.19), x_reflection=True))
bootstrap.add(gdstk.Reference(sky130_fd_pr__nfet_g5v0d, (6.285,2.3), x_reflection=True))
bootstrap.add(gdstk.Reference(c_sky130_fd_pr__nfet_01v8_, (6.75,-1.035)))
bootstrap.add(gdstk.Reference(c_sky130_fd_pr__nfet_01v8_, (8.125,-1.035), rotation=pi, x_reflection=True))
bootstrap.add(gdstk.Reference(c_sky130_fd_pr__nfet_01v8___, (8.125,0.495), rotation=pi, x_reflection=True))
bootstrap.add(gdstk.Reference(c_sky130_fd_pr__nfet_01v8___, (10.87,0.495), rotation=pi, x_reflection=True))
bootstrap.add(gdstk.Reference(c_sky130_fd_pr__nfet_01v8___, (9.5,0.495)))
bootstrap.add(gdstk.Reference(c_sky130_fd_pr__nfet_01v8____, (10.87,-1.035), x_reflection=True))
bootstrap.add(gdstk.Reference(c_sky130_fd_pr__nfet_01v8____, (9.5,-1.035), rotation=pi))
bootstrap.add(gdstk.Reference(c_sky130_fd_pr__nfet_01v8_, (12.245,-1.035)))
bootstrap.add(gdstk.Reference(c_sky130_fd_pr__nfet_01v8___, (12.245,0.495)))
bootstrap.add(gdstk.Reference(sky130_fd_pr__nfet_g5v0d, (5.495,2.61), rotation=pi, x_reflection=True))
bootstrap.add(gdstk.Reference(c_sky130_fd_pr__nfet_01v8_____, (8.13,1.775), rotation=pi, x_reflection=True))
bootstrap.add(gdstk.Reference(c_sky130_fd_pr__nfet_01v8_____, (10.87,1.775), rotation=pi, x_reflection=True))
bootstrap.add(gdstk.Reference(c_sky130_fd_pr__nfet_01v8_____, (9.5,1.775)))
bootstrap.add(gdstk.Reference(c_sky130_fd_pr__nfet_01v8_____, (12.24,1.775)))
bootstrap.add(gdstk.Reference(c_sky130_fd_pr__pfet_01v8_, (8.685,6.98), x_reflection=True))
bootstrap.add(gdstk.Reference(c_sky130_fd_pr__pfet_01v8_, (10.685,6.98), rotation=pi))
bootstrap.add(gdstk.Reference(c_sky130_fd_pr__pfet_01v8_, (9.685,6.98), x_reflection=True))
bootstrap.add(gdstk.Reference(c_sky130_fd_pr__pfet_01v8_, (11.685,6.98), x_reflection=True))
bootstrap.add(gdstk.Reference(sky130_fd_pr__cap_mim_m3, (22.945,-0.505), rotation=3*pi/2, x_reflection=True))
bootstrap.add(gdstk.Reference(c_sky130_fd_pr__nfet_01v8_, (13.62,-1.035), rotation=pi, x_reflection=True))
bootstrap.add(gdstk.Reference(c_sky130_fd_pr__nfet_01v8__, (15.495,-1.19), rotation=pi))
bootstrap.add(gdstk.Reference(sky130_fd_pr__nfet_g5v0d, (14.085,2.3), rotation=pi))
bootstrap.add(gdstk.Reference(sky130_fd_pr__nfet_g5v0d, (15.665,2.3), rotation=pi))
bootstrap.add(gdstk.Reference(sky130_fd_pr__nfet_g5v0d, (14.875,2.61)))
bootstrap.add(gdstk.Reference(sky130_fd_pr__pfet_01v8_, (18.28,8.67), rotation=pi))
bootstrap.add(gdstk.Label('vin_n', (8.8,-1.33), layer=68, texttype=5))
bootstrap.add(gdstk.Label('vin_p', (11.53,-1.26), layer=68, texttype=5))
bootstrap.add(gdstk.Label('vout_n', (7.38,-1.32), layer=68, texttype=5))
bootstrap.add(gdstk.Label('vout_p', (12.9,-1.22), layer=68, texttype=5))
bootstrap.add(gdstk.Label('vss', (4.16,-3.4), layer=68, texttype=5))
bootstrap.add(gdstk.Label('vdd', (7.897,10.202), layer=70, texttype=5))
bootstrap.add(gdstk.Label('clk', (10.207,4.362), layer=69, texttype=5))
bootstrap.add(gdstk.Label('clkb', (10.197,-5.812), layer=69, texttype=5))

lib.write_gds('bootstrap.gds')
